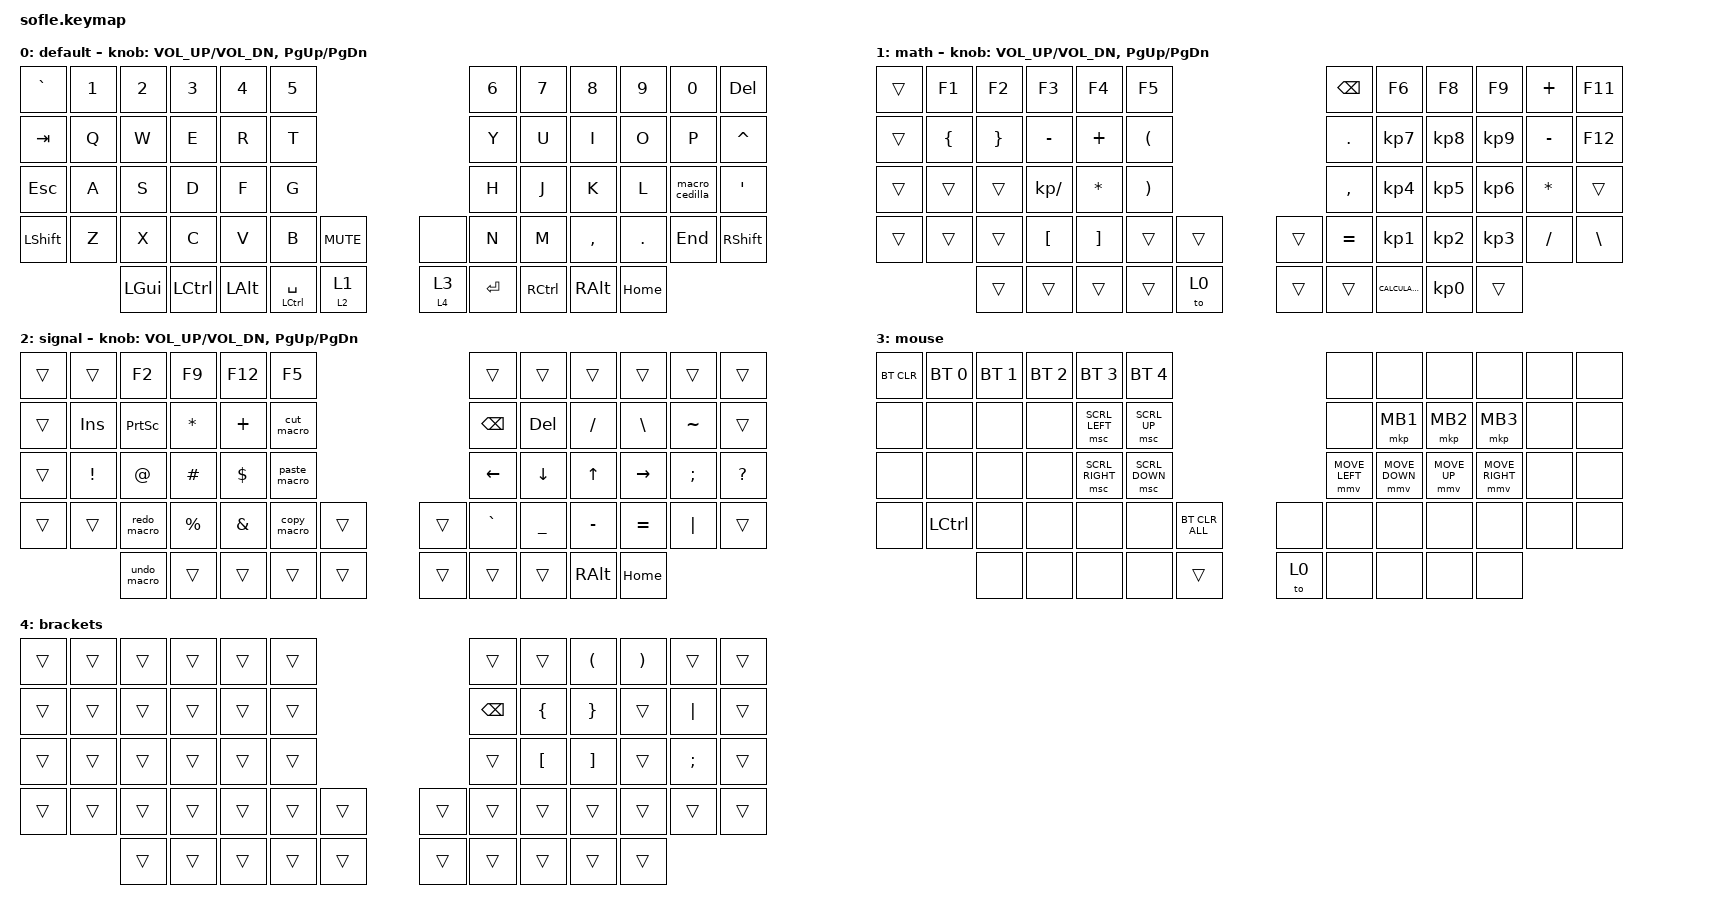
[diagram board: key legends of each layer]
/*
 * Copyright (c) 2020 The ZMK Contributors
 *
 * SPDX-License-Identifier: MIT
 */

#include <behaviors.dtsi>
#include <dt-bindings/zmk/bt.h>
#include <dt-bindings/zmk/keys.h>
#include <dt-bindings/zmk/pointing.h>

#define UNICODE_ENABLE
#define BASE 0
#define LOWER 1
#define RAISE 2
#define ADJUST 3

/ {
    // Activate ADJUST layer by pressing raise and lower

    conditional_layers { compatible = "zmk,conditional-layers"; };

    macros {
        macro_cedilla: macro_cedilla {
            compatible = "zmk,behavior-macro";
            #binding-cells = <0>;
            bindings =
                <&macro_press>,
                <&kp RIGHT_ALT &kp COMMA>,
                <&macro_release>,
                <&kp RIGHT_ALT &kp COMMA>;

            label = "MACRO_CEDILLA";
        };

        undo_macro: undo_macro {
            compatible = "zmk,behavior-macro";
            #binding-cells = <0>;
            bindings =
                <&macro_press>,
                <&kp RCTRL &kp Z>,
                <&macro_release>,
                <&kp RCTRL &kp Z>;

            label = "UNDO_MACRO";
        };

        copy_macro: copy_macro {
            compatible = "zmk,behavior-macro";
            #binding-cells = <0>;
            bindings =
                <&macro_press>,
                <&kp RCTRL &kp C>,
                <&macro_release>,
                <&kp RCTRL &kp C>;

            label = "COPY_MACRO";
        };

        paste_macro: paste_macro {
            compatible = "zmk,behavior-macro";
            #binding-cells = <0>;
            bindings =
                <&macro_press>,
                <&kp RCTRL &kp V>,
                <&macro_release>,
                <&kp RCTRL &kp V>;

            label = "PASTE_MACRO";
        };

        redo_macro: redo_macro {
            compatible = "zmk,behavior-macro";
            #binding-cells = <0>;
            bindings =
                <&macro_press>,
                <&kp RCTRL &kp RIGHT_SHIFT &kp Z>,
                <&macro_release>,
                <&kp RCTRL &kp RIGHT_SHIFT &kp Z>;

            label = "REDO_MACRO";
        };

        cut_macro: cut_macro {
            compatible = "zmk,behavior-macro";
            #binding-cells = <0>;
            bindings =
                <&macro_press>,
                <&kp RCTRL &kp X>,
                <&macro_release>,
                <&kp RCTRL &kp X>;

            label = "CUT_MACRO";
        };
    };

    behaviors {
        change_layers: change_layers {
            compatible = "zmk,behavior-hold-tap";
            label = "CHANGE_LAYERS";
            bindings = <&mo>, <&to>;

            #binding-cells = <2>;
            tapping-term-ms = <180>;
            quick-tap-ms = <175>;
            require-prior-idle-ms = <125>;
            flavor = "balanced";
            hold-trigger-on-release;
        };

        ht_keys: ht_keys {
            compatible = "zmk,behavior-hold-tap";
            label = "HT_KEYS";
            bindings = <&kp>, <&kp>;

            #binding-cells = <2>;
            tapping-term-ms = <180>;
            quick-tap-ms = <175>;
            require-prior-idle-ms = <125>;
            flavor = "balanced";
            hold-trigger-on-release;
        };
    };

    keymap {
        compatible = "zmk,keymap";

        default_layer {
            display-name = "default";

            // ------------------------------------------------------------------------------------------------------------
            // |   `   |  1  |  2  |  3   |  4   |  5   |                   |  6   |  7    |  8    |  9   |   0   |       |
            // |  ESC  |  Q  |  W  |  E   |  R   |  T   |                   |  Y   |  U    |  I    |  O   |   P   | BKSPC |
            // |  TAB  |  A  |  S  |  D   |  F   |  G   |                   |  H   |  J    |  K    |  L   |   Ç   |   '   |
            // | SHIFT |  Z  |  X  |  C   |  V   |  B   |  MUTE  |  |       |  N   |  M    |  ,    |  .   |   /   | SHIFT |
            //               | GUI | ALT  | CTRL | LOWER|  ENTER |  | SPACE | RAISE| CTRL  | ALT   | GUI  |

            bindings = <
&kp GRAVE   &kp N1  &kp N2    &kp N3     &kp N4        &kp N5                                                          &kp N6     &kp N7     &kp N8     &kp N9    &kp N0          &kp DELETE
&kp TAB     &kp Q   &kp W     &kp E      &kp R         &kp T                                                           &kp Y      &kp U      &kp I      &kp O     &kp P           &kp CARET
&kp ESCAPE  &kp A   &kp S     &kp D      &kp F         &kp G                                                           &kp H      &kp J      &kp K      &kp L     &macro_cedilla  &kp SQT
&kp LSHFT   &kp Z   &kp X     &kp C      &kp V         &kp B                 &kp C_MUTE            &none               &kp N      &kp M      &kp COMMA  &kp DOT   &kp END         &kp RSHFT
                    &kp LGUI  &kp LCTRL  &kp LEFT_ALT  &ht_keys LCTRL SPACE  &change_layers 2 1    &change_layers 4 3  &kp ENTER  &kp RCTRL  &kp RALT   &kp HOME
            >;

            sensor-bindings =
                <&inc_dec_kp C_VOL_UP C_VOL_DN>,
                <&inc_dec_kp PAGE_UP PAGE_DOWN>;
        };

        math_layer {
            display-name = "math";

            // TODO: Some binds are waiting for shifted keycode support.
            // ------------------------------------------------------------------------------------------------------------
            // |       |  F1 |  F2 |  F3  |  F4  |  F5  |                   |  F6  |  F7   |  F8   |  F9  |  F10  |  F11  |
            // |   `   |  1  |  2  |  3   |  4   |  5   |                   |  6   |  7    |  8    |  9   |   0   |  F12  |
            // |       |  !  |  @  |  #   |  $   |  %   |                   |  ^   |  &    |  *    |  (   |   )   |   |   |
            // |       |  =  |  -  |  +   |  {   |  }   |        |  |       |  [   |  ]    |  ;    |  :   |   \   |       |
            //               |     |      |      |      |        |  |       |      |       |       |      |

            bindings = <
&trans  &kp F1          &kp F2           &kp F3            &kp F4             &kp F5                                   &kp BACKSPACE  &kp F6            &kp F8           &kp F9           &kp PLUS      &kp F11
&trans  &kp LEFT_BRACE  &kp RIGHT_BRACE  &kp MINUS         &kp PLUS           &kp LEFT_PARENTHESIS                     &kp PERIOD     &kp KP_NUMBER_7   &kp KP_NUMBER_8  &kp KP_NUMBER_9  &kp MINUS     &kp F12
&trans  &trans          &trans           &kp KP_DIVIDE     &kp ASTERISK       &kp RIGHT_PARENTHESIS                    &kp COMMA      &kp KP_NUMBER_4   &kp KP_NUMBER_5  &kp KP_NUMBER_6  &kp ASTERISK  &trans
&trans  &trans          &trans           &kp LEFT_BRACKET  &kp RIGHT_BRACKET  &trans                 &trans    &trans  &kp EQUAL      &kp KP_NUMBER_1   &kp KP_NUMBER_2  &kp KP_NUMBER_3  &kp SLASH     &kp BACKSLASH
                        &trans           &trans            &trans             &trans                 &to 0     &trans  &trans         &kp K_CALCULATOR  &kp KP_NUMBER_0  &trans
            >;

            sensor-bindings = <&inc_dec_kp C_VOL_UP C_VOL_DN &inc_dec_kp PG_UP PG_DN>;
        };

        signal_layer {
            display-name = "signal";

            // ------------------------------------------------------------------------------------------------------------
            // | BTCLR | BT1  | BT2  |  BT3  |  BT4  |  BT5 |                |      |      |       |      |       |       |
            // |       | INS  | PSCR | GUI   |       |      |                | PGUP |      |   ^   |      |       |       |
            // |       | ALT  | CTRL | SHIFT |       | CAPS |                | PGDN |   <- |   v   |  ->  |  DEL  | BKSPC |
            // |       | UNDO | CUT  | COPY  | PASTE |      |      |  |      |      |      |       |      |       |       |
            //                |      |       |       |      |      |  |      |      |      |       |      |

            bindings = <
&trans  &trans           &kp F2       &kp F9        &kp F12        &kp F5                          &trans          &trans          &trans        &trans         &trans     &trans
&trans  &kp INS          &kp PSCRN    &kp ASTERISK  &kp PLUS       &cut_macro                      &kp BACKSPACE   &kp DEL         &kp SLASH     &kp BACKSLASH  &kp TILDE  &trans
&trans  &kp EXCLAMATION  &kp AT_SIGN  &kp HASH      &kp DOLLAR     &paste_macro                    &kp LEFT_ARROW  &kp DOWN_ARROW  &kp UP_ARROW  &kp RIGHT      &kp SEMI   &kp QUESTION
&trans  &trans           &redo_macro  &kp PERCENT   &kp AMPERSAND  &copy_macro   &trans    &trans  &kp GRAVE       &kp UNDER       &kp MINUS     &kp EQUAL      &kp PIPE   &trans
                         &undo_macro  &trans        &trans         &trans        &trans    &trans  &trans          &trans          &kp RALT      &kp HOME
            >;

            sensor-bindings = <&inc_dec_kp C_VOL_UP C_VOL_DN &inc_dec_kp PG_UP PG_DN>;
        };

        mouse_layer {
            // ----------------------------------------------------------------------------------------------------------------------------
            // | BTCLR  |  BT1    |  BT2    |   BT3   |   BT4   |   BT5   |                  |      |      |       |      |       |       |
            // | EXTPWR | RGB_HUD | RGB_HUI | RGB_SAD | RGB_SAI | RGB_EFF |                  |      |      |       |      |       |       |
            // |        | RGB_BRD | RGB_BRI |         |         |         |                  |      |      |       |      |       |       |
            // |        |         |         |         |         |         | RGB_TOG | |      |      |      |       |      |       |       |
            //                    |         |         |         |         |         | |      |      |      |       |      |

            display-name = "mouse";
            bindings = <
&bt BT_CLR  &bt BT_SEL 0  &bt BT_SEL 1  &bt BT_SEL 2  &bt BT_SEL 3     &bt BT_SEL 4                             &none           &none           &none         &none            &none  &none
&none       &none         &none         &none         &msc SCRL_LEFT   &msc SCRL_UP                             &none           &mkp MB1        &mkp MB2      &mkp MB3         &none  &none
&none       &none         &none         &none         &msc SCRL_RIGHT  &msc SCRL_DOWN                           &mmv MOVE_LEFT  &mmv MOVE_DOWN  &mmv MOVE_UP  &mmv MOVE_RIGHT  &none  &none
&none       &kp LCTRL     &none         &none         &none            &none           &bt BT_CLR_ALL    &none  &none           &none           &none         &none            &none  &none
                          &none         &none         &none            &none           &trans            &to 0  &none           &none           &none         &none
            >;
        };

        brackets_layer {
            display-name = "brackets";
            bindings = <
&trans  &trans  &trans  &trans  &trans  &trans                    &trans         &trans            &kp LEFT_PARENTHESIS  &kp RIGHT_PARENTHESIS  &trans         &trans
&trans  &trans  &trans  &trans  &trans  &trans                    &kp BACKSPACE  &kp LEFT_BRACE    &kp RIGHT_BRACE       &trans                 &kp PIPE       &trans
&trans  &trans  &trans  &trans  &trans  &trans                    &trans         &kp LEFT_BRACKET  &kp RIGHT_BRACKET     &trans                 &kp SEMICOLON  &trans
&trans  &trans  &trans  &trans  &trans  &trans  &trans    &trans  &trans         &trans            &trans                &trans                 &trans         &trans
                &trans  &trans  &trans  &trans  &trans    &trans  &trans         &trans            &trans                &trans
            >;
        };
    };
};
